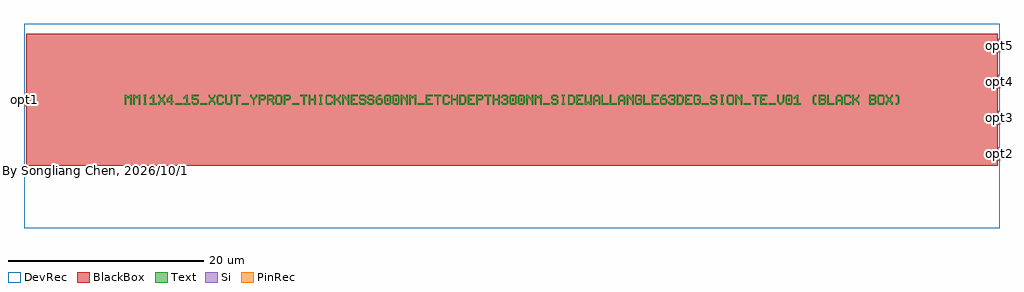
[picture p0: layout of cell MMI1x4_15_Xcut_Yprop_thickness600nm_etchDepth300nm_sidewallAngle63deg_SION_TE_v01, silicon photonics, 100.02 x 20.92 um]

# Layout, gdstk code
import gdstk
lib = gdstk.Library(unit=1e-6, precision=1e-10)
def R(c, l, rs):  # rectangles x0, y0, x1, y1
    for r in rs: c.add(gdstk.rectangle(r[:2], r[2:], *l))
def A(c, l, x, y, w, h, nx, ny, dx, dy):  # array of equal rectangles
    R(c, l, [(x+i*dx, y+j*dy, x+i*dx+w, y+j*dy+h) for i in range(nx) for j in range(ny)])
def P(c, l, *ps):  # polygons
    for p in ps: c.add(gdstk.Polygon(p, *l))
Si = (1, 0)
PinRec = (1, 10)
Text = (10, 0)
DevRec = (68, 0)
BlackBox = (998, 0)

text = lib.new_cell('TEXT')
A(text, Text, 17.14, 0, 0.714, 0.143, 3, 1, 12.855, 0)
R(text, Text, [(5.142,0,5.856,0.143), (7.713,0,8.427,0.143), (11.998,0,12.712,0.143), (59.133,0,59.847,0.143), (63.418,0,64.132,0.143), (65.989,0,66.703,0.143), (26.853,0.357,26.995,0.643), (27.71,0.357,27.852,0.643), (39.708,0.357,39.85,0.643), (40.565,0.357,40.707,0.643), (67.989,0.357,68.131,0.643)])
P(text, Text, [(0,0),(0,1),(0.143,1),(0.286,0.857),(0.428,0.857),(0.571,1),(0.714,1),(0.714,0),(0.571,0),(0.571,0.714),(0.5,0.714),(0.357,0.571),(0.214,0.714),(0.143,0.714),(0.143,0)],
  [(0.857,0),(0.857,1),(1,1),(1.143,0.857),(1.285,0.857),(1.428,1),(1.571,1),(1.571,0),(1.428,0),(1.428,0.714),(1.357,0.714),(1.214,0.571),(1.071,0.714),(1,0.714),(1,0)],
  [(1.928,0),(1.928,0.143),(2,0.143),(2,0.857),(1.928,0.857),(1.928,1),(2.214,1),(2.214,0.857),(2.142,0.857),(2.142,0.143),(2.214,0.143),(2.214,0)],
  [(2.571,0),(2.571,0.143),(2.857,0.143),(2.857,0.714),(2.785,0.714),(2.642,0.571),(2.571,0.571),(2.571,0.714),(2.857,1),(2.999,1),(2.999,0.143),(3.285,0.143),(3.285,0)],
  [(3.428,0),(3.428,0.214),(3.642,0.428),(3.642,0.571),(3.428,0.785),(3.428,1),(3.571,1),(3.571,0.857),(3.785,0.643),(3.999,0.857),(3.999,1),(4.142,1),(4.142,0.785),(3.928,0.571),(3.928,0.428),(4.142,0.214),(4.142,0),(3.999,0),(3.999,0.143),(3.785,0.357),(3.571,0.143),(3.571,0)],
  [(4.713,0),(4.713,0.214),(4.285,0.214),(4.285,0.357),(4.713,0.357),(4.713,0.714),(4.642,0.714),(4.428,0.5),(4.428,0.357),(4.285,0.357),(4.285,0.571),(4.713,1),(4.856,1),(4.856,0.357),(4.999,0.357),(4.999,0.214),(4.856,0.214),(4.856,0)],
  [(5.999,0),(5.999,0.143),(6.285,0.143),(6.285,0.714),(6.213,0.714),(6.07,0.571),(5.999,0.571),(5.999,0.714),(6.285,1),(6.427,1),(6.427,0.143),(6.713,0.143),(6.713,0)],
  [(6.999,0),(6.856,0.143),(6.856,0.286),(6.999,0.286),(6.999,0.214),(7.07,0.143),(7.356,0.143),(7.427,0.214),(7.427,0.428),(7.356,0.5),(6.856,0.5),(6.856,1),(7.57,1),(7.57,0.857),(6.999,0.857),(6.999,0.643),(7.427,0.643),(7.57,0.5),(7.57,0.143),(7.427,0)],
  [(8.57,0),(8.57,0.214),(8.784,0.428),(8.784,0.571),(8.57,0.785),(8.57,1),(8.713,1),(8.713,0.857),(8.927,0.643),(9.141,0.857),(9.141,1),(9.284,1),(9.284,0.785),(9.07,0.571),(9.07,0.428),(9.284,0.214),(9.284,0),(9.141,0),(9.141,0.143),(8.927,0.357),(8.713,0.143),(8.713,0)],
  [(9.57,0),(9.427,0.143),(9.427,0.857),(9.57,1),(9.998,1),(10.141,0.857),(10.141,0.714),(9.998,0.714),(9.998,0.785),(9.927,0.857),(9.641,0.857),(9.57,0.785),(9.57,0.214),(9.641,0.143),(9.927,0.143),(9.998,0.214),(9.998,0.286),(10.141,0.286),(10.141,0.143),(9.998,0)],
  [(10.427,0),(10.284,0.143),(10.284,1),(10.427,1),(10.427,0.214),(10.498,0.143),(10.784,0.143),(10.855,0.214),(10.855,1),(10.998,1),(10.998,0.143),(10.855,0)],
  [(11.427,0),(11.427,0.857),(11.141,0.857),(11.141,1),(11.855,1),(11.855,0.857),(11.569,0.857),(11.569,0)],
  [(13.141,0),(13.141,0.5),(12.855,0.785),(12.855,1),(12.998,1),(12.998,0.857),(13.212,0.643),(13.426,0.857),(13.426,1),(13.569,1),(13.569,0.785),(13.283,0.5),(13.283,0)],
  [(13.712,0),(13.712,1),(14.283,1),(14.426,0.857),(14.426,0.571),(14.283,0.428),(13.855,0.428),(13.855,0.571),(14.212,0.571),(14.283,0.643),(14.283,0.785),(14.212,0.857),(13.855,0.857),(13.855,0)],
  [(14.569,0),(14.569,1),(15.14,1),(15.283,0.857),(14.712,0.857),(14.712,0.571),(15.069,0.571),(15.14,0.643),(15.14,0.785),(15.069,0.857),(15.283,0.857),(15.283,0.571),(15.14,0.428),(15.14,0.357),(15.283,0.214),(15.283,0),(15.14,0),(15.14,0.143),(14.855,0.428),(14.712,0.428),(14.712,0)],
  [(15.569,0),(15.426,0.143),(15.426,0.857),(15.569,1),(15.997,1),(16.14,0.857),(16.14,0.5),(15.997,0.5),(15.997,0.785),(15.926,0.857),(15.64,0.857),(15.569,0.785),(15.569,0.214),(15.64,0.143),(15.926,0.143),(15.997,0.214),(15.997,0.5),(16.14,0.5),(16.14,0.143),(15.997,0)],
  [(16.283,0),(16.283,1),(16.854,1),(16.997,0.857),(16.997,0.571),(16.854,0.428),(16.426,0.428),(16.426,0.571),(16.783,0.571),(16.854,0.643),(16.854,0.785),(16.783,0.857),(16.426,0.857),(16.426,0)],
  [(18.283,0),(18.283,0.857),(17.997,0.857),(17.997,1),(18.711,1),(18.711,0.857),(18.425,0.857),(18.425,0)],
  [(18.854,0),(18.854,1),(18.997,1),(18.997,0.571),(19.425,0.571),(19.425,1),(19.568,1),(19.568,0),(19.425,0),(19.425,0.428),(18.997,0.428),(18.997,0)],
  [(19.925,0),(19.925,0.143),(19.997,0.143),(19.997,0.857),(19.925,0.857),(19.925,1),(20.211,1),(20.211,0.857),(20.139,0.857),(20.139,0.143),(20.211,0.143),(20.211,0)],
  [(20.711,0),(20.568,0.143),(20.568,0.857),(20.711,1),(21.139,1),(21.282,0.857),(21.282,0.714),(21.139,0.714),(21.139,0.785),(21.068,0.857),(20.782,0.857),(20.711,0.785),(20.711,0.214),(20.782,0.143),(21.068,0.143),(21.139,0.214),(21.139,0.286),(21.282,0.286),(21.282,0.143),(21.139,0)],
  [(21.425,0),(21.425,1),(21.568,1),(21.568,0.571),(21.711,0.571),(21.996,0.857),(21.996,1),(22.139,1),(22.139,0.785),(21.853,0.5),(22.139,0.214),(22.139,0),(21.996,0),(21.996,0.143),(21.711,0.428),(21.568,0.428),(21.568,0)],
  [(22.282,0),(22.282,1),(22.425,1),(22.782,0.643),(22.853,0.643),(22.853,1),(22.996,1),(22.996,0),(22.853,0),(22.853,0.357),(22.496,0.714),(22.425,0.714),(22.425,0)],
  [(23.139,0),(23.139,1),(23.853,1),(23.853,0.857),(23.282,0.857),(23.282,0.571),(23.567,0.571),(23.567,0.428),(23.282,0.428),(23.282,0.143),(23.853,0.143),(23.853,0)],
  [(24.139,0),(23.996,0.143),(23.996,0.286),(24.139,0.286),(24.139,0.214),(24.21,0.143),(24.496,0.143),(24.567,0.214),(24.567,0.357),(24.496,0.428),(24.139,0.428),(23.996,0.571),(23.996,0.857),(24.139,1),(24.567,1),(24.71,0.857),(24.71,0.714),(24.567,0.714),(24.567,0.785),(24.496,0.857),(24.21,0.857),(24.139,0.785),(24.139,0.643),(24.21,0.571),(24.567,0.571),(24.71,0.428),(24.71,0.143),(24.567,0)],
  [(24.996,0),(24.853,0.143),(24.853,0.286),(24.996,0.286),(24.996,0.214),(25.067,0.143),(25.353,0.143),(25.424,0.214),(25.424,0.357),(25.353,0.428),(24.996,0.428),(24.853,0.571),(24.853,0.857),(24.996,1),(25.424,1),(25.567,0.857),(25.567,0.714),(25.424,0.714),(25.424,0.785),(25.353,0.857),(25.067,0.857),(24.996,0.785),(24.996,0.643),(25.067,0.571),(25.424,0.571),(25.567,0.428),(25.567,0.143),(25.424,0)],
  [(25.853,0),(25.71,0.143),(25.71,0.714),(25.996,1),(26.281,1),(26.281,0.857),(26.067,0.857),(25.924,0.714),(25.924,0.643),(26.281,0.643),(26.424,0.5),(25.924,0.5),(25.853,0.428),(25.853,0.214),(25.924,0.143),(26.21,0.143),(26.281,0.214),(26.281,0.428),(26.21,0.5),(26.424,0.5),(26.424,0.143),(26.281,0)],
  [(26.71,0),(26.567,0.143),(26.567,0.857),(26.71,1),(27.138,1),(27.281,0.857),(26.781,0.857),(26.71,0.785),(26.71,0.214),(26.781,0.143),(27.067,0.143),(27.138,0.214),(27.138,0.785),(27.067,0.857),(27.281,0.857),(27.281,0.143),(27.138,0)],
  [(27.567,0),(27.424,0.143),(27.424,0.857),(27.567,1),(27.995,1),(28.138,0.857),(27.638,0.857),(27.567,0.785),(27.567,0.214),(27.638,0.143),(27.924,0.143),(27.995,0.214),(27.995,0.785),(27.924,0.857),(28.138,0.857),(28.138,0.143),(27.995,0)],
  [(28.281,0),(28.281,1),(28.424,1),(28.781,0.643),(28.852,0.643),(28.852,1),(28.995,1),(28.995,0),(28.852,0),(28.852,0.357),(28.495,0.714),(28.424,0.714),(28.424,0)],
  [(29.138,0),(29.138,1),(29.281,1),(29.424,0.857),(29.566,0.857),(29.709,1),(29.852,1),(29.852,0),(29.709,0),(29.709,0.714),(29.638,0.714),(29.495,0.571),(29.352,0.714),(29.281,0.714),(29.281,0)],
  [(30.852,0),(30.852,1),(31.566,1),(31.566,0.857),(30.995,0.857),(30.995,0.571),(31.28,0.571),(31.28,0.428),(30.995,0.428),(30.995,0.143),(31.566,0.143),(31.566,0)],
  [(31.995,0),(31.995,0.857),(31.709,0.857),(31.709,1),(32.423,1),(32.423,0.857),(32.137,0.857),(32.137,0)],
  [(32.709,0),(32.566,0.143),(32.566,0.857),(32.709,1),(33.137,1),(33.28,0.857),(33.28,0.714),(33.137,0.714),(33.137,0.785),(33.066,0.857),(32.78,0.857),(32.709,0.785),(32.709,0.214),(32.78,0.143),(33.066,0.143),(33.137,0.214),(33.137,0.286),(33.28,0.286),(33.28,0.143),(33.137,0)],
  [(33.423,0),(33.423,1),(33.566,1),(33.566,0.571),(33.994,0.571),(33.994,1),(34.137,1),(34.137,0),(33.994,0),(33.994,0.428),(33.566,0.428),(33.566,0)],
  [(34.28,0),(34.28,1),(34.78,1),(34.923,0.857),(34.423,0.857),(34.423,0.143),(34.708,0.143),(34.851,0.286),(34.851,0.714),(34.708,0.857),(34.923,0.857),(34.994,0.785),(34.994,0.214),(34.78,0)],
  [(35.137,0),(35.137,1),(35.851,1),(35.851,0.857),(35.28,0.857),(35.28,0.571),(35.565,0.571),(35.565,0.428),(35.28,0.428),(35.28,0.143),(35.851,0.143),(35.851,0)],
  [(35.994,0),(35.994,1),(36.565,1),(36.708,0.857),(36.708,0.571),(36.565,0.428),(36.137,0.428),(36.137,0.571),(36.494,0.571),(36.565,0.643),(36.565,0.785),(36.494,0.857),(36.137,0.857),(36.137,0)],
  [(37.137,0),(37.137,0.857),(36.851,0.857),(36.851,1),(37.565,1),(37.565,0.857),(37.279,0.857),(37.279,0)],
  [(37.708,0),(37.708,1),(37.851,1),(37.851,0.571),(38.279,0.571),(38.279,1),(38.422,1),(38.422,0),(38.279,0),(38.279,0.428),(37.851,0.428),(37.851,0)],
  [(38.708,0),(38.565,0.143),(38.565,0.286),(38.708,0.286),(38.708,0.214),(38.779,0.143),(39.065,0.143),(39.136,0.214),(39.136,0.357),(39.065,0.428),(38.851,0.428),(38.851,0.571),(39.065,0.571),(39.136,0.643),(39.136,0.785),(39.065,0.857),(38.779,0.857),(38.708,0.785),(38.708,0.714),(38.565,0.714),(38.565,0.857),(38.708,1),(39.136,1),(39.279,0.857),(39.279,0.571),(39.208,0.5),(39.279,0.428),(39.279,0.143),(39.136,0)],
  [(39.565,0),(39.422,0.143),(39.422,0.857),(39.565,1),(39.993,1),(40.136,0.857),(39.636,0.857),(39.565,0.785),(39.565,0.214),(39.636,0.143),(39.922,0.143),(39.993,0.214),(39.993,0.785),(39.922,0.857),(40.136,0.857),(40.136,0.143),(39.993,0)],
  [(40.422,0),(40.279,0.143),(40.279,0.857),(40.422,1),(40.85,1),(40.993,0.857),(40.493,0.857),(40.422,0.785),(40.422,0.214),(40.493,0.143),(40.779,0.143),(40.85,0.214),(40.85,0.785),(40.779,0.857),(40.993,0.857),(40.993,0.143),(40.85,0)],
  [(41.136,0),(41.136,1),(41.279,1),(41.636,0.643),(41.707,0.643),(41.707,1),(41.85,1),(41.85,0),(41.707,0),(41.707,0.357),(41.35,0.714),(41.279,0.714),(41.279,0)],
  [(41.993,0),(41.993,1),(42.136,1),(42.279,0.857),(42.421,0.857),(42.564,1),(42.707,1),(42.707,0),(42.564,0),(42.564,0.714),(42.493,0.714),(42.35,0.571),(42.207,0.714),(42.136,0.714),(42.136,0)],
  [(43.85,0),(43.707,0.143),(43.707,0.286),(43.85,0.286),(43.85,0.214),(43.921,0.143),(44.207,0.143),(44.278,0.214),(44.278,0.357),(44.207,0.428),(43.85,0.428),(43.707,0.571),(43.707,0.857),(43.85,1),(44.278,1),(44.421,0.857),(44.421,0.714),(44.278,0.714),(44.278,0.785),(44.207,0.857),(43.921,0.857),(43.85,0.785),(43.85,0.643),(43.921,0.571),(44.278,0.571),(44.421,0.428),(44.421,0.143),(44.278,0)],
  [(44.778,0),(44.778,0.143),(44.85,0.143),(44.85,0.857),(44.778,0.857),(44.778,1),(45.064,1),(45.064,0.857),(44.992,0.857),(44.992,0.143),(45.064,0.143),(45.064,0)],
  [(45.421,0),(45.421,1),(45.921,1),(46.064,0.857),(45.564,0.857),(45.564,0.143),(45.849,0.143),(45.992,0.286),(45.992,0.714),(45.849,0.857),(46.064,0.857),(46.135,0.785),(46.135,0.214),(45.921,0)],
  [(46.278,0),(46.278,1),(46.992,1),(46.992,0.857),(46.421,0.857),(46.421,0.571),(46.706,0.571),(46.706,0.428),(46.421,0.428),(46.421,0.143),(46.992,0.143),(46.992,0)],
  [(47.135,0),(47.135,1),(47.278,1),(47.278,0.214),(47.349,0.214),(47.492,0.357),(47.635,0.214),(47.706,0.214),(47.706,1),(47.849,1),(47.849,0),(47.635,0),(47.492,0.143),(47.349,0)],
  [(47.992,0),(47.992,0.785),(48.206,1),(48.492,1),(48.635,0.857),(48.278,0.857),(48.135,0.714),(48.135,0.5),(48.563,0.5),(48.563,0.714),(48.42,0.857),(48.635,0.857),(48.706,0.785),(48.706,0),(48.563,0),(48.563,0.357),(48.135,0.357),(48.135,0)],
  [(48.849,0),(48.849,1),(48.992,1),(48.992,0.143),(49.563,0.143),(49.563,0)],
  [(49.706,0),(49.706,1),(49.849,1),(49.849,0.143),(50.42,0.143),(50.42,0)],
  [(50.563,0),(50.563,0.785),(50.777,1),(51.063,1),(51.206,0.857),(50.849,0.857),(50.706,0.714),(50.706,0.5),(51.134,0.5),(51.134,0.714),(50.991,0.857),(51.206,0.857),(51.277,0.785),(51.277,0),(51.134,0),(51.134,0.357),(50.706,0.357),(50.706,0)],
  [(51.42,0),(51.42,1),(51.563,1),(51.92,0.643),(51.991,0.643),(51.991,1),(52.134,1),(52.134,0),(51.991,0),(51.991,0.357),(51.634,0.714),(51.563,0.714),(51.563,0)],
  [(52.42,0),(52.277,0.143),(52.277,0.857),(52.42,1),(52.848,1),(52.991,0.857),(52.991,0.714),(52.848,0.714),(52.848,0.785),(52.777,0.857),(52.491,0.857),(52.42,0.785),(52.42,0.214),(52.491,0.143),(52.777,0.143),(52.848,0.214),(52.848,0.428),(52.634,0.428),(52.634,0.571),(52.991,0.571),(52.991,0.143),(52.848,0)],
  [(53.134,0),(53.134,1),(53.277,1),(53.277,0.143),(53.848,0.143),(53.848,0)],
  [(53.991,0),(53.991,1),(54.705,1),(54.705,0.857),(54.134,0.857),(54.134,0.571),(54.419,0.571),(54.419,0.428),(54.134,0.428),(54.134,0.143),(54.705,0.143),(54.705,0)],
  [(54.991,0),(54.848,0.143),(54.848,0.714),(55.134,1),(55.419,1),(55.419,0.857),(55.205,0.857),(55.062,0.714),(55.062,0.643),(55.419,0.643),(55.562,0.5),(55.062,0.5),(54.991,0.428),(54.991,0.214),(55.062,0.143),(55.348,0.143),(55.419,0.214),(55.419,0.428),(55.348,0.5),(55.562,0.5),(55.562,0.143),(55.419,0)],
  [(55.848,0),(55.705,0.143),(55.705,0.286),(55.848,0.286),(55.848,0.214),(55.919,0.143),(56.205,0.143),(56.276,0.214),(56.276,0.357),(56.205,0.428),(55.991,0.428),(55.991,0.571),(56.205,0.571),(56.276,0.643),(56.276,0.785),(56.205,0.857),(55.919,0.857),(55.848,0.785),(55.848,0.714),(55.705,0.714),(55.705,0.857),(55.848,1),(56.276,1),(56.419,0.857),(56.419,0.571),(56.348,0.5),(56.419,0.428),(56.419,0.143),(56.276,0)],
  [(56.562,0),(56.562,1),(57.062,1),(57.205,0.857),(56.705,0.857),(56.705,0.143),(56.99,0.143),(57.133,0.286),(57.133,0.714),(56.99,0.857),(57.205,0.857),(57.276,0.785),(57.276,0.214),(57.062,0)],
  [(57.419,0),(57.419,1),(58.133,1),(58.133,0.857),(57.562,0.857),(57.562,0.571),(57.847,0.571),(57.847,0.428),(57.562,0.428),(57.562,0.143),(58.133,0.143),(58.133,0)],
  [(58.419,0),(58.276,0.143),(58.276,0.857),(58.419,1),(58.847,1),(58.99,0.857),(58.99,0.714),(58.847,0.714),(58.847,0.785),(58.776,0.857),(58.49,0.857),(58.419,0.785),(58.419,0.214),(58.49,0.143),(58.776,0.143),(58.847,0.214),(58.847,0.428),(58.633,0.428),(58.633,0.571),(58.99,0.571),(58.99,0.143),(58.847,0)],
  [(60.133,0),(59.99,0.143),(59.99,0.286),(60.133,0.286),(60.133,0.214),(60.204,0.143),(60.49,0.143),(60.561,0.214),(60.561,0.357),(60.49,0.428),(60.133,0.428),(59.99,0.571),(59.99,0.857),(60.133,1),(60.561,1),(60.704,0.857),(60.704,0.714),(60.561,0.714),(60.561,0.785),(60.49,0.857),(60.204,0.857),(60.133,0.785),(60.133,0.643),(60.204,0.571),(60.561,0.571),(60.704,0.428),(60.704,0.143),(60.561,0)],
  [(61.061,0),(61.061,0.143),(61.133,0.143),(61.133,0.857),(61.061,0.857),(61.061,1),(61.347,1),(61.347,0.857),(61.275,0.857),(61.275,0.143),(61.347,0.143),(61.347,0)],
  [(61.847,0),(61.704,0.143),(61.704,0.857),(61.847,1),(62.275,1),(62.418,0.857),(62.418,0.5),(62.275,0.5),(62.275,0.785),(62.204,0.857),(61.918,0.857),(61.847,0.785),(61.847,0.214),(61.918,0.143),(62.204,0.143),(62.275,0.214),(62.275,0.5),(62.418,0.5),(62.418,0.143),(62.275,0)],
  [(62.561,0),(62.561,1),(62.704,1),(63.061,0.643),(63.132,0.643),(63.132,1),(63.275,1),(63.275,0),(63.132,0),(63.132,0.357),(62.775,0.714),(62.704,0.714),(62.704,0)],
  [(64.561,0),(64.561,0.857),(64.275,0.857),(64.275,1),(64.989,1),(64.989,0.857),(64.703,0.857),(64.703,0)],
  [(65.132,0),(65.132,1),(65.846,1),(65.846,0.857),(65.275,0.857),(65.275,0.571),(65.56,0.571),(65.56,0.428),(65.275,0.428),(65.275,0.143),(65.846,0.143),(65.846,0)],
  [(67.132,0),(66.846,0.286),(66.846,1),(66.989,1),(66.989,0.357),(67.203,0.143),(67.417,0.357),(67.417,1),(67.56,1),(67.56,0.286),(67.274,0)],
  [(67.846,0),(67.703,0.143),(67.703,0.857),(67.846,1),(68.274,1),(68.417,0.857),(67.917,0.857),(67.846,0.785),(67.846,0.214),(67.917,0.143),(68.203,0.143),(68.274,0.214),(68.274,0.785),(68.203,0.857),(68.417,0.857),(68.417,0.143),(68.274,0)],
  [(68.56,0),(68.56,0.143),(68.846,0.143),(68.846,0.714),(68.774,0.714),(68.631,0.571),(68.56,0.571),(68.56,0.714),(68.846,1),(68.988,1),(68.988,0.143),(69.274,0.143),(69.274,0)],
  [(70.631,0),(70.488,0.143),(70.488,0.857),(70.631,1),(70.845,1),(70.845,0.857),(70.702,0.857),(70.631,0.785),(70.631,0.214),(70.702,0.143),(70.845,0.143),(70.845,0)],
  [(71.131,0),(71.131,1),(71.702,1),(71.845,0.857),(71.274,0.857),(71.274,0.571),(71.631,0.571),(71.702,0.643),(71.702,0.785),(71.631,0.857),(71.845,0.857),(71.845,0.571),(71.774,0.5),(71.845,0.428),(71.274,0.428),(71.274,0.143),(71.631,0.143),(71.702,0.214),(71.702,0.357),(71.631,0.428),(71.845,0.428),(71.845,0.143),(71.702,0)],
  [(71.988,0),(71.988,1),(72.131,1),(72.131,0.143),(72.702,0.143),(72.702,0)],
  [(72.845,0),(72.845,0.785),(73.059,1),(73.345,1),(73.488,0.857),(73.131,0.857),(72.988,0.714),(72.988,0.5),(73.416,0.5),(73.416,0.714),(73.273,0.857),(73.488,0.857),(73.559,0.785),(73.559,0),(73.416,0),(73.416,0.357),(72.988,0.357),(72.988,0)],
  [(73.845,0),(73.702,0.143),(73.702,0.857),(73.845,1),(74.273,1),(74.416,0.857),(74.416,0.714),(74.273,0.714),(74.273,0.785),(74.202,0.857),(73.916,0.857),(73.845,0.785),(73.845,0.214),(73.916,0.143),(74.202,0.143),(74.273,0.214),(74.273,0.286),(74.416,0.286),(74.416,0.143),(74.273,0)],
  [(74.559,0),(74.559,1),(74.702,1),(74.702,0.571),(74.845,0.571),(75.13,0.857),(75.13,1),(75.273,1),(75.273,0.785),(74.987,0.5),(75.273,0.214),(75.273,0),(75.13,0),(75.13,0.143),(74.845,0.428),(74.702,0.428),(74.702,0)],
  [(76.273,0),(76.273,1),(76.844,1),(76.987,0.857),(76.416,0.857),(76.416,0.571),(76.773,0.571),(76.844,0.643),(76.844,0.785),(76.773,0.857),(76.987,0.857),(76.987,0.571),(76.916,0.5),(76.987,0.428),(76.416,0.428),(76.416,0.143),(76.773,0.143),(76.844,0.214),(76.844,0.357),(76.773,0.428),(76.987,0.428),(76.987,0.143),(76.844,0)],
  [(77.273,0),(77.13,0.143),(77.13,0.857),(77.273,1),(77.701,1),(77.844,0.857),(77.844,0.5),(77.701,0.5),(77.701,0.785),(77.63,0.857),(77.344,0.857),(77.273,0.785),(77.273,0.214),(77.344,0.143),(77.63,0.143),(77.701,0.214),(77.701,0.5),(77.844,0.5),(77.844,0.143),(77.701,0)],
  [(77.987,0),(77.987,0.214),(78.201,0.428),(78.201,0.571),(77.987,0.785),(77.987,1),(78.13,1),(78.13,0.857),(78.344,0.643),(78.558,0.857),(78.558,1),(78.701,1),(78.701,0.785),(78.487,0.571),(78.487,0.428),(78.701,0.214),(78.701,0),(78.558,0),(78.558,0.143),(78.344,0.357),(78.13,0.143),(78.13,0)],
  [(78.987,0),(78.987,0.143),(79.13,0.143),(79.201,0.214),(79.201,0.785),(79.13,0.857),(78.987,0.857),(78.987,1),(79.201,1),(79.344,0.857),(79.344,0.143),(79.201,0)])

mmi1x4_15_xcut_yprop_thi = lib.new_cell('MMI1x4_15_Xcut_Yprop_thickness600nm_etchDepth300nm_sidewallAngle63deg_SION_TE_v01')
R(mmi1x4_15_xcut_yprop_thi, Si, [(49.8,-6.2586,50,-4.8586), (49.8,-2.5529,50,-1.1529), (-50,-0.7,-49.8,0.7), (49.8,1.1529,50,2.5529), (49.8,4.8586,50,6.2586)])
R(mmi1x4_15_xcut_yprop_thi, DevRec, [(-50,-13.1586,50,7.7586)])
R(mmi1x4_15_xcut_yprop_thi, BlackBox, [(-49.8,-6.7586,49.8,6.7586)])
mmi1x4_15_xcut_yprop_thi.add(gdstk.FlexPath([(-49.99,0),(-50.01,0)], 1.4, ends="flush", simple_path=True, layer=1, datatype=10))  # PinRec
mmi1x4_15_xcut_yprop_thi.add(gdstk.FlexPath([(49.99,-5.5586),(50.01,-5.5586)], 1.4, ends="flush", simple_path=True, layer=1, datatype=10))  # PinRec
mmi1x4_15_xcut_yprop_thi.add(gdstk.FlexPath([(49.99,-1.8529),(50.01,-1.8529)], 1.4, ends="flush", simple_path=True, layer=1, datatype=10))  # PinRec
mmi1x4_15_xcut_yprop_thi.add(gdstk.FlexPath([(49.99,1.8529),(50.01,1.8529)], 1.4, ends="flush", simple_path=True, layer=1, datatype=10))  # PinRec
mmi1x4_15_xcut_yprop_thi.add(gdstk.FlexPath([(49.99,5.5586),(50.01,5.5586)], 1.4, ends="flush", simple_path=True, layer=1, datatype=10))  # PinRec
mmi1x4_15_xcut_yprop_thi.add(gdstk.Reference(text, (-39.672,-0.5)))
mmi1x4_15_xcut_yprop_thi.add(gdstk.Label('opt1', (-50,0), layer=1, texttype=10))
mmi1x4_15_xcut_yprop_thi.add(gdstk.Label('opt2', (50,-5.5586), layer=1, texttype=10))
mmi1x4_15_xcut_yprop_thi.add(gdstk.Label('opt3', (50,-1.8529), layer=1, texttype=10))
mmi1x4_15_xcut_yprop_thi.add(gdstk.Label('opt4', (50,1.8529), layer=1, texttype=10))
mmi1x4_15_xcut_yprop_thi.add(gdstk.Label('opt5', (50,5.5586), layer=1, texttype=10))
mmi1x4_15_xcut_yprop_thi.add(gdstk.Label('By Songliang Chen, 2026/10/13', (-49.5,-7.2586), layer=10, texttype=0))

lib.write_gds('MMI1x4_15_Xcut_Yprop_thickness600nm_etchDepth300nm_sidewallAngle63deg_SION_TE_v01.gds')
